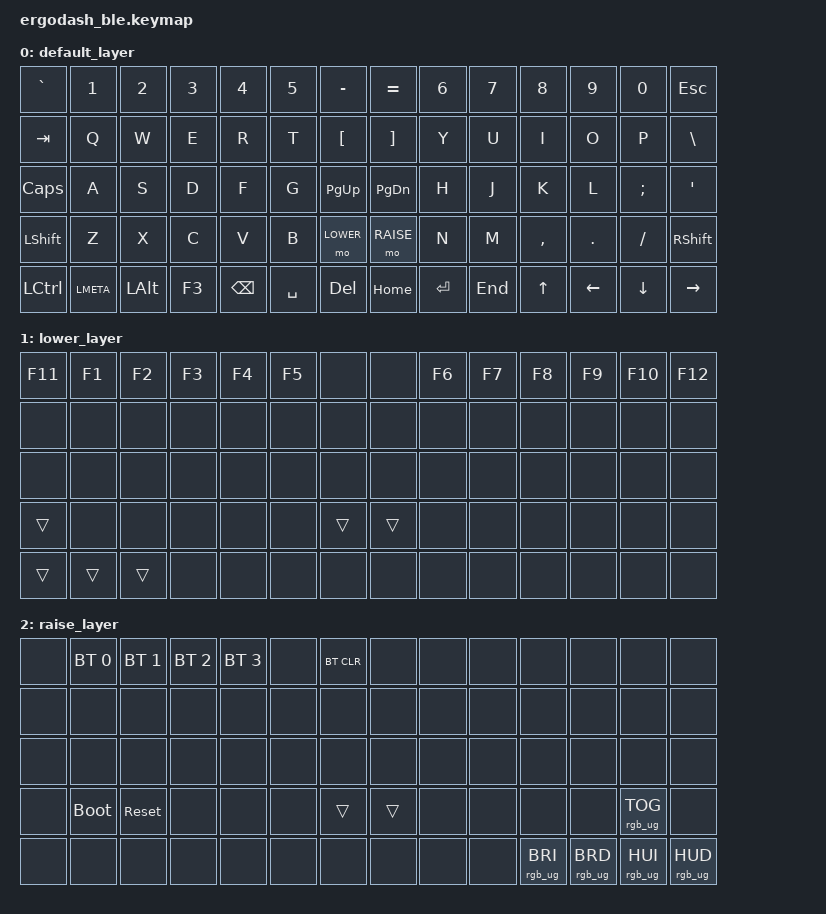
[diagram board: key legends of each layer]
/*
 * Copyright (c) 2020 The ZMK Contributors
 *
 * SPDX-License-Identifier: MIT
 */

#include <behaviors.dtsi>
#include <dt-bindings/zmk/keys.h>
#include <dt-bindings/zmk/bt.h>
#include <dt-bindings/zmk/ext_power.h>
#include <dt-bindings/zmk/rgb.h>

#define DEFAULT 0
#define LOWER   1
#define RAISE   2


/ {
        keymap {
                compatible = "zmk,keymap";

                default_layer {
/* QWERTY
 * .----------------------------------------------------------------------------------------------------------------------.
 * |  `   |   1  |   2  |   3  |   4  |   5  |  -   |                    |  =   |   6  |   7  |   8  |   9  |   0  | ESC |
 * |------+------+------+------+------+------+------+--------------------+------+------+------+------+------+------+------|
 * | Tab  |   Q  |   W  |   E  |   R  |   T  |  [   |                    |  ]   |   Y  |   U  |   I  |   O  |   P  |  \   |
 * |------+------+------+------+------+------+------+--------------------+------+------+------+------+------+------+------|
 * | Caps |   A  |   S  |   D  |   F  |   G  | PGUP |                    | PGDN |   H  |   J  |   K  |   L  |   ;  |  '   |
 * |------+------+------+------+------+------+---------------------------+------+------+------+------+------+------+------|
 * | Shift|   Z  |   X  |   C  |   V  |   B  | Lower|                    | Raise|   N  |   M  |   ,  |   .  |   /  | Shift|
 * |-------------+------+------+------+------+------+------+------+------+------+------+------+------+------+-------------|
 * | Ctrl | Win  | ALT  | F3   | BSPC | SPACE| DEL  |||||||||||||||||||||| Home | Enter| End  | Up   | Left | Down | Right|
 * .----------------------------------------------------------------------------------------------------------------------.
 

 */
                        bindings = <
&kp  GRAVE    &kp  N1       &kp  N2       &kp  N3       &kp  N4       &kp  N5       &kp  MINUS             &kp  EQUAL    &kp  N6       &kp  N7       &kp  N8       &kp  N9       &kp  N0       &kp  ESC
&kp  TAB      &kp  Q        &kp  W        &kp  E        &kp  R        &kp  T        &kp  LBKT              &kp  RBKT     &kp  Y        &kp  U        &kp  I        &kp  O        &kp  P        &kp  BSLH
&kp  CAPSLOCK &kp  A        &kp  S        &kp  D        &kp  F        &kp  G        &kp  PG_UP             &kp  PG_DN    &kp  H        &kp  J        &kp  K        &kp  L        &kp  SEMI     &kp  SQT
&kp  LSHFT    &kp  Z        &kp  X        &kp  C        &kp  V        &kp  B        &mo  LOWER             &mo  RAISE    &kp  N        &kp  M        &kp  COMMA    &kp  DOT      &kp  SLASH    &kp  RSHIFT
&kp  LCTRL    &kp  LMETA    &kp  LALT     &kp  F3       &kp  BSPC     &kp  SPACE    &kp  DEL               &kp  HOME     &kp  RET      &kp  END      &kp  UP       &kp  LEFT     &kp  DOWN     &kp  RIGHT
                        >;
                };
                lower_layer {
/* .----------------------------------------------------------------------------------------------------------------------.
 * |  F11 |  F1  |  F2  |  F3  |  F4  |  F5  |      |                    |      |  F6  |  F7  |  F8  |  F9  |  F10 |  F12 |
 * |------+------+------+------+------+------+------+--------------------+------+------+------+------+------+------+------|
 * |      |      |      |      |      |      |      |                    |      |      |      |      |      |      |      |
 * |------+------+------+------+------+------+------+--------------------+------+------+------+------+------+------+------|
 * |      |      |      |      |      |      |      |                    |      |      |      |      |      |      |      |
 * |------+------+------+------+------+------+---------------------------+------+------+------+------+------+------+------|
 * | Shift|      |      |      |      |      | LOWER|                    | Raise|      |      |      |      |      |      |
 * |-------------+------+------+------+------+------+------+------+------+------+------+------+------+------+-------------|
 * | Ctlr | Win  | Alt  |      |      |      |      |      ||||||||      |      |      |      |      |      |      |      |
 * .----------------------------------------------------------------------------------------------------------------------.
 */ /* FIXME boot and reset are not yet locale aware */
                        bindings = <
&kp  F11      &kp  F1       &kp  F2       &kp  F3       &kp  F4       &kp  F5       &none                  &none         &kp  F6       &kp  F7       &kp  F8       &kp  F9       &kp  F10      &kp  F12
&none         &none         &none         &none         &none         &none         &none                  &none         &none         &none         &none         &none         &none         &none
&none         &none         &none         &none         &none         &none         &none                  &none         &none         &none         &none         &none         &none         &none
&trans        &none         &none         &none         &none         &none         &trans                 &trans        &none         &none         &none         &none         &none         &none
&trans        &trans        &trans        &none         &none         &none         &none                  &none         &none         &none         &none         &none         &none         &none
                        >;
                };
                raise_layer {
/* .----------------------------------------------------------------------------------------------------------------------.
 * |      | BT 0 | BT 1 | BT 2 | BT 3 |      | BTCL |                    |      |      |      |      |      |      |      |
 * |------+------+------+------+------+------+------+--------------------+------+------+------+------+------+------+------|
 * |      |      |      |      |      |      |      |                    |      |      |      |      |      |      |      |
 * |------+------+------+------+------+------+------+--------------------+------+------+------+------+------+------+------|
 * |      |      |      |      |      |      |      |                    |      |      |      |      |      |      |      |
 * |------+------+------+------+------+------+---------------------------+------+------+------+------+------+------+------|
 * |      | Boot | Reset|      |      |      | LOWER|                    | Raise|      |      |      |      | TOGLE|      |
 * |-------------+------+------+------+------+------+------+------+------+------+------+------+------+------+-------------|
 * |      |      |      |      |      |      |      |      ||||||||      |      |      |      | BRI  | BRD  | HUI  | HUD  |
 * .----------------------------------------------------------------------------------------------------------------------.
 */ /* FIXME boot and reset are not yet locale aware */
                        bindings = <
&none         &bt BT_SEL 0  &bt BT_SEL 1  &bt BT_SEL 2  &bt BT_SEL 3  &none         &bt BT_CLR             &none         &none         &none         &none         &none         &none         &none
&none         &none         &none         &none         &none         &none         &none                  &none         &none         &none         &none         &none         &none         &none
&none         &none         &none         &none         &none         &none         &none                  &none         &none         &none         &none         &none         &none         &none
&none         &bootloader   &sys_reset    &none         &none         &none         &trans                 &trans        &none         &none         &none         &none         &rgb_ug RGB_TOG &none
&none         &none         &none         &none         &none         &none         &none                  &none         &none         &none         &rgb_ug RGB_BRI &rgb_ug RGB_BRD &rgb_ug RGB_HUI &rgb_ug RGB_HUD
                        >;
                };
        };
};

